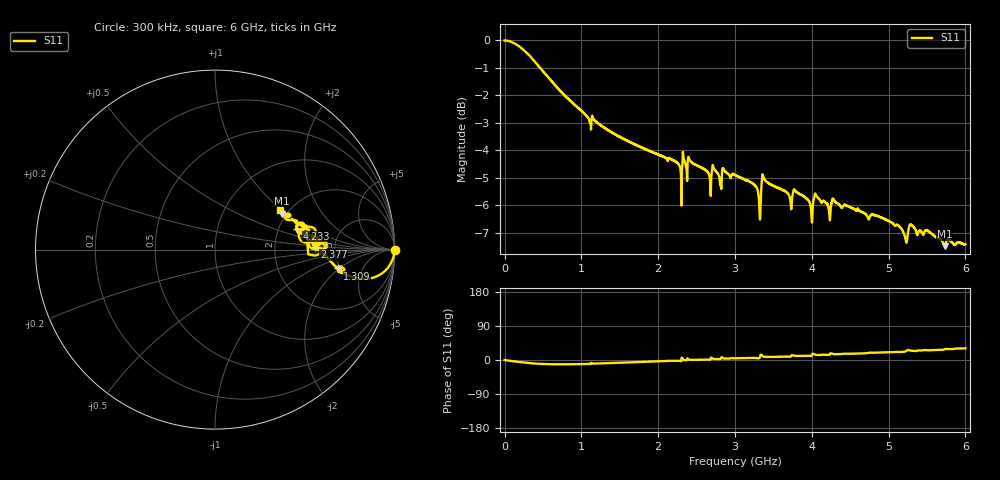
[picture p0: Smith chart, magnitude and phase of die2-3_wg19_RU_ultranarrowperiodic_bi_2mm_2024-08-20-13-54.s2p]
!Keysight Technologies,P9374A,MY57304198,A.17.20.09
!Date: Tuesday, August 20, 2024 13:54:49
!Correction: S11(C  1-Port  )
!S21(C  1-Port  )
!S12(Off)
!S22(Off)
!S2P File: Measurements: S11, S21, S12, S22:
# Hz S  dB  R 50
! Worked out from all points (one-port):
!   6000 points, 300 kHz to 6 GHz, reference 50 ohm
!   lowest |S11| = -7.5 dB at 5.729 GHz (marker M1), VSWR 2.46, Z = 94.5 + j46 ohm
!   |S11| at or under -10 dB: nowhere
!   S11 on the Smith chart (normalised r, x): 300 kHz: open; 1.309 GHz: 4.70, -1.89; 2.377 GHz: 3.48, +0.16; 4.233 GHz: 2.54, +0.76; 6 GHz: 1.82, +0.97
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300000  0.00 -0.0  -200.00 45.0  -200.00 45.0  -200.00 45.0
1.743203e8  -0.19 -4.9  -200.00 45.0  -200.00 45.0  -200.00 45.0
4.143483e8  -0.84 -9.6  -200.00 45.0  -200.00 45.0  -200.00 45.0
1.000417e9  -2.56 -10.8  -200.00 45.0  -200.00 45.0  -200.00 45.0
1.309453e9  -3.20 -8.7  -200.00 45.0  -200.00 45.0  -200.00 45.0
2.000533e9  -4.15 -3.4  -200.00 45.0  -200.00 45.0  -200.00 45.0
2.285567e9  -4.64 -2.3  -200.00 45.0  -200.00 45.0  -200.00 45.0
2.376577e9  -5.12 1.6  -200.00 45.0  -200.00 45.0  -200.00 45.0
2.667611e9  -4.94 0.7  -200.00 45.0  -200.00 45.0  -200.00 45.0
3.00065e9  -4.89 4.5  -200.00 45.0  -200.00 45.0  -200.00 45.0
3.292684e9  -5.43 5.0  -200.00 45.0  -200.00 45.0  -200.00 45.0
3.319687e9  -6.26 5.4  -200.00 45.0  -200.00 45.0  -200.00 45.0
3.355691e9  -4.89 11.3  -200.00 45.0  -200.00 45.0  -200.00 45.0
3.466704e9  -5.25 8.0  -200.00 45.0  -200.00 45.0  -200.00 45.0
4.000767e9  -6.60 12.6  -200.00 45.0  -200.00 45.0  -200.00 45.0
4.066774e9  -5.69 13.3  -200.00 45.0  -200.00 45.0  -200.00 45.0
4.232794e9  -6.48 14.3  -200.00 45.0  -200.00 45.0  -200.00 45.0
5.000883e9  -6.58 20.2  -200.00 45.0  -200.00 45.0  -200.00 45.0
5.23091e9  -7.36 23.7  -200.00 45.0  -200.00 45.0  -200.00 45.0
5.299918e9  -6.73 24.4  -200.00 45.0  -200.00 45.0  -200.00 45.0
5.728968e9  -7.49 28.3  -200.00 45.0  -200.00 45.0  -200.00 45.0
6e9  -7.43 30.8  -200.00 45.0  -200.00 45.0  -200.00 45.0
